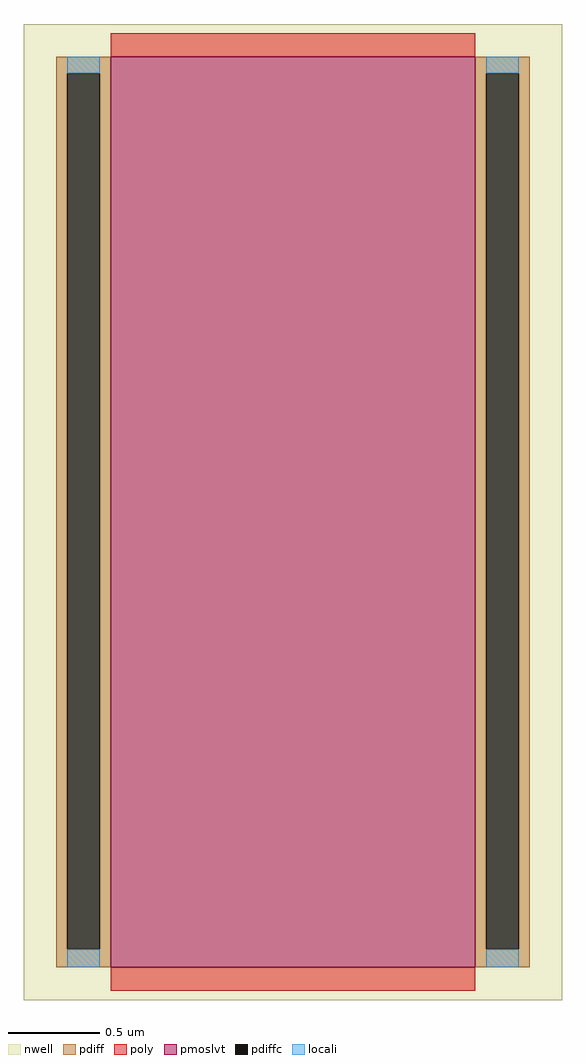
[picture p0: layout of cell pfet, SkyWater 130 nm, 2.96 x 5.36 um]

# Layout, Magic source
magic
tech sky130A
<< nwell >>
rect -48 -18 248 518
<< pmoslvt >>
rect 0 0 200 500
<< pdiff >>
rect -30 491 0 500
rect -30 10 -24 491
rect -6 10 0 491
rect -30 0 0 10
rect 200 491 230 500
rect 200 10 206 491
rect 224 10 230 491
rect 200 0 230 10
<< pdiffc >>
rect -24 10 -6 491
rect 206 10 224 491
<< poly >>
rect 0 500 200 513
rect 0 -13 200 0
<< locali >>
rect -24 491 -6 500
rect -24 0 -6 10
rect 206 491 224 500
rect 206 0 224 10
<< end >>
